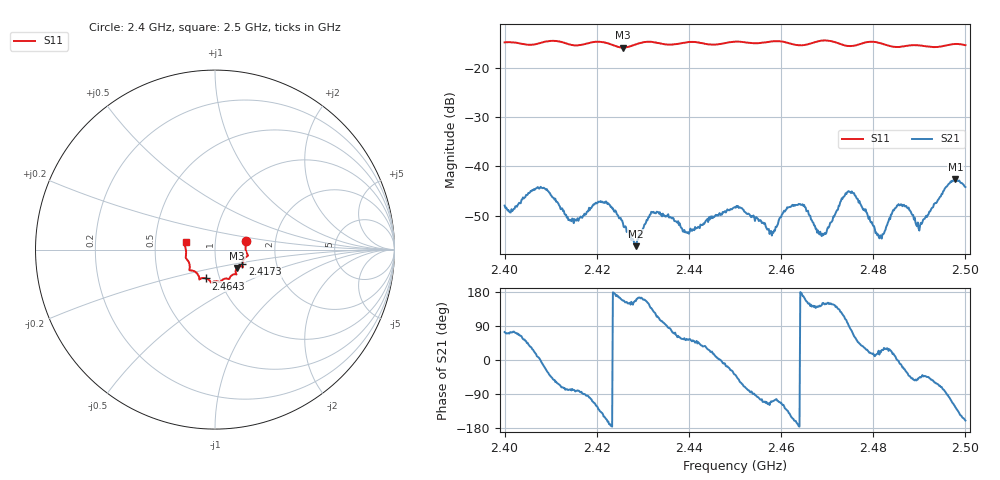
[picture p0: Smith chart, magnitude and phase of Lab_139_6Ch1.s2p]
# Hz S RI R 50
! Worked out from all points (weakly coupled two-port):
!   601 points, 2.4 GHz to 2.5 GHz, reference 50 ohm
!   highest |S21| = -42.63 dB at 2.4978 GHz (marker M1); lowest = -56.2 dB at 2.4285 GHz (marker M2)
!   lowest |S11| = -15.9 dB at 2.4257 GHz (marker M3), VSWR 1.38, Z = 62.4 - j13.1 ohm
!   |S11| at or under -10 dB: start of sweep to end of sweep
!   S12 and S22 are empty: the file has one direction only
!   S11 on the Smith chart (normalised r, x): 2.4 GHz: 1.41, +0.15; 2.4173 GHz: 1.34, -0.23; 2.4643 GHz: 0.86, -0.28; 2.5 GHz: 0.72, +0.06
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2.4e9  0.1732 0.0498  0.00112 0.00383  0 0  0 0
2.408167e9  0.1787 -0.0222  0.00593 -0.000965  0 0  0 0
2.414e9  0.1656 -0.0467  0.000599 -0.00282  0 0  0 0
2.416667e9  0.1529 -0.0746  0.000322 -0.00303  0 0  0 0
2.417333e9  0.1523 -0.0821  1.73e-05 -0.00331  0 0  0 0
2.421667e9  0.1527 -0.095  -0.00374 -0.00217  0 0  0 0
2.425667e9  0.1225 -0.1022  -0.00245 0.00105  0 0  0 0
2.4285e9  0.1155 -0.1278  -0.00142 0.000631  0 0  0 0
2.433333e9  0.1127 -0.1367  -0.00131 0.00318  0 0  0 0
2.439667e9  0.0802 -0.1621  0.00123 0.00172  0 0  0 0
2.45e9  0.0294 -0.1808  0.00302 -0.00241  0 0  0 0
2.458e9  -0.0185 -0.1832  -0.000678 -0.00187  0 0  0 0
2.464333e9  -0.0503 -0.1605  -0.00406 0.000176  0 0  0 0
2.466667e9  -0.0763 -0.1597  -0.00221 0.00179  0 0  0 0
2.469333e9  -0.0877 -0.1668  -0.00175 0.0011  0 0  0 0
2.474833e9  -0.1048 -0.1278  0.000249 0.00551  0 0  0 0
2.481333e9  -0.1421 -0.1073  0.0018 0.000466  0 0  0 0
2.483333e9  -0.1408 -0.0895  0.00255 0.00114  0 0  0 0
2.486167e9  -0.1507 -0.0617  0.00397 -0.00103  0 0  0 0
2.49e9  -0.1629 -0.0412  0.00153 -0.00162  0 0  0 0
2.497833e9  -0.1707 0.031  -0.00419 -0.00608  0 0  0 0
2.5e9  -0.1634 0.042  -0.00577 -0.00214  0 0  0 0
